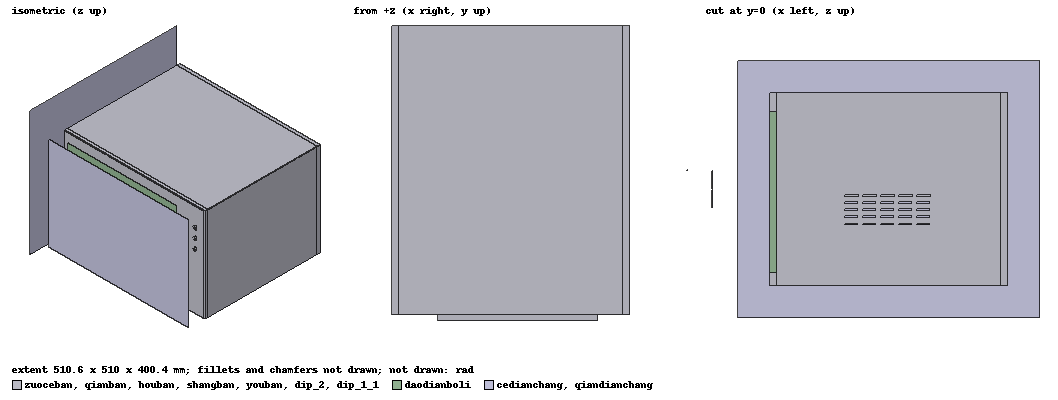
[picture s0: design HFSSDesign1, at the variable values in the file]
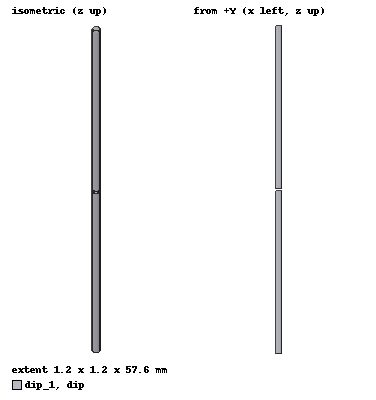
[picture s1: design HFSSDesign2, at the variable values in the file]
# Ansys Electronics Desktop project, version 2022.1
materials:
  vacuum: permittivity=1
  steel_stainless: conductivity=1100000
  daodianboli: conductivity=14.7
  pec: conductivity=1e+30
  air: permittivity=1.0006 permeability=1.0000004

design HFSSDesign1 (HFSS, DrivenModal, model units mm)
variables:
  length = 450mm
  width = 350mm
  height = 300mm
  kong_radius = 0
  dwidth = 10mm
  dlength = 350mm
  dheight = 250mm
  kwidth_ce = 0.091mm
  kradius_ce = 0.107mm
  kwidth_max = 4.55mm
  kradius_max = 5.33mm
  lambda = 120mm
  tlength = 0.48*lambda
  gap = 0.24mm
  dip_length = tlength/2-gap/2
  dip_radius = lambda/200
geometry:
  qianban [steel_stainless] = box(corner=(width/2, -length/2, -height/2), size=(dwidth, length, height))
  shangban [steel_stainless] = box(corner=(-width/2, -length/2, height/2), size=(width, length, 0.2mm))
  youban [steel_stainless] = box(corner=(-width/2, length/2, -height/2), size=(width, 0.2mm, height))
  houban [steel_stainless] = qianban.duplicate_mirror(point=(0mm, 0mm, 0mm), normal=(-1mm, 0mm, 0mm))
  xiaban [steel_stainless] = shangban.duplicate_mirror(point=(0mm, 0mm, 0mm), normal=(0mm, 0mm, -1mm))
  coordinate_system RelativeCS1 = origin=(175.2mm, -225mm, -150mm) x=(1mm, 0mm, 0mm) y=(0mm, 1mm, 0mm)
  Box1 = box(corner=(-1mm, 10mm, 20mm), size=(11000mm, dlength, dheight)) in RelativeCS1
  qianban.subtract(Box1)
  zuoban = youban.duplicate_mirror(point=(0mm, 0mm, 0mm), normal=(0mm, -1mm, 0mm))
  coordinate_system RelativeCS2 = origin=(-0.2mm, 10mm, 20mm) x=(1mm, 0mm, 0mm) y=(0mm, 1mm, 0mm) in RelativeCS1
  daodianboli [daodianboli] = box(corner=(0mm, 0mm, 0mm), size=(10mm, 350mm, 250mm)) in RelativeCS2
  Cylinder1 = cylinder(axis=X, base_centre=(-10mm, 80mm, 20mm), radius=kradius_max, height=40mm) in RelativeCS1
  Cylinder1.move(0mm, 300mm, 220mm) in RelativeCS1
  Cylinder1_1 = Cylinder1.duplicate_along_line(step=(1mm, 40mm, 0mm), total=2) in RelativeCS1
  Cylinder1_2, Cylinder1_3 = Cylinder1.duplicate_along_line(step=(1mm, 0mm, -30mm), total=3) in RelativeCS1
  Cylinder1_1_1, Cylinder1_1_2 = Cylinder1_1.duplicate_along_line(step=(0mm, 0mm, -30mm), total=3) in RelativeCS1
  coordinate_system RelativeCS3 = origin=(-175mm, -225.2mm, -150mm) x=(1mm, 0mm, 0mm) y=(0mm, 1mm, 0mm)
  zuoceban [steel_stainless] = box(corner=(91mm, 0mm, 40mm), size=(250mm, -9.8mm, 100mm)) in RelativeCS3
  zuoceban.move(-30mm, 0mm, 20mm) in RelativeCS3
  zuoceban.chamfer(Edges=zuoceban.edge(4 of 12, 10 of 12, 6 of 12, 9 of 12) LeftDistance=9.8mm RightDistance=9.8mm ChamferType=Symmetric)
  Box2 = box(corner=(40mm, -100mm, -20mm), size=(20mm, 100mm, 3mm)) in RelativeCS3
  Box2.move(70mm, 0mm, 159mm) in RelativeCS3
  Box2.move(1mm, 70mm, -1mm) in RelativeCS3
  Box2_1..Box2_4 = Box2.duplicate_along_line(step=(28mm, 0mm, 0mm), total=5) in RelativeCS3
  Box2_5..Box2_8 = Box2.duplicate_along_line(step=(0mm, 0mm, -11mm), total=5) in RelativeCS3
  Box2_1_1..Box2_1_4 = Box2_1.duplicate_along_line(step=(0mm, 0mm, -11mm), total=5) in RelativeCS3
  Box2_2_1..Box2_2_4 = Box2_2.duplicate_along_line(step=(0mm, 0mm, -11mm), total=5) in RelativeCS3
  Box2_3_1..Box2_3_4 = Box2_3.duplicate_along_line(step=(0mm, 0mm, -11mm), total=5) in RelativeCS3
  Box2_4_1..Box2_4_4 = Box2_4.duplicate_along_line(step=(0mm, 0mm, -11mm), total=5) in RelativeCS3
  zuoceban.unite(zuoban)
  zuoceban.subtract(Box2, Box2_1, Box2_1_1..Box2_1_4, Box2_2, Box2_2_1..Box2_2_4, Box2_3, Box2_3_1..Box2_3_4, Box2_4, Box2_4_1..Box2_4_4)
  zuoceban.subtract(Box2_5..Box2_8)
  coordinate_system RelativeCS4 = origin=(-128mm, 0mm, 138mm) x=(1mm, 0mm, 0mm) y=(0mm, 1mm, 0mm) in RelativeCS1
  coordinate_system RelativeCS5 = origin=(-2mm, 0mm, 4mm) x=(1mm, 0mm, 0mm) y=(0mm, 1mm, 0mm) in RelativeCS4
  Box3 = box(corner=(1.75mm, 0mm, 0mm), size=(22mm, 6mm, 1mm)) in RelativeCS5
  Box3.rotate(axis=X, angle=-45deg) in RelativeCS5
  Box3.move(0mm, -0.4mm, 0mm) in RelativeCS5
  Box3.move(0mm, -0.2mm, 0mm) in RelativeCS5
  Box3.move(0mm, -0.2mm, 0mm) in RelativeCS5
  Box3_1..Box3_4 = Box3.duplicate_along_line(step=(-28mm, 0mm, 0mm), total=5) in RelativeCS5
  qianban.subtract(Cylinder1, Cylinder1_1, Cylinder1_1_1, Cylinder1_1_2, Cylinder1_2, Cylinder1_3)
  zuoceban.unite(Box3, Box3_1..Box3_4)
  dip [pec] = cylinder(axis=Z, base_centre=(0mm, 0mm, gap/2), radius=dip_radius, height=dip_length)
  dip_1 [pec] = dip.duplicate_around_axis(axis=Y, angle=180deg, total=2)
  Rectangle1 = rectangle(corner=(0mm, -dip_radius, -gap/2), y_size=2*dip_radius, z_size=gap)
  rad [air] = box(corner=(-dwidth-50mm, -9.8mm-50mm, -0.2mm-50mm), size=(width+2*dwidth+100mm, length+0.4mm+9.8mm+100mm, height+0.4mm+100mm)) in RelativeCS3
  dip_2 [pec] = dip.duplicate_along_line(step=(width/2+100mm, 0mm, 0mm), total=2)
  dip_1_1 [pec] = dip_1.duplicate_along_line(step=(width/2+100mm, 0mm, 0mm), total=2)
  Rectangle1_1 = Rectangle1.duplicate_along_line(step=(width/2+100mm, 0mm, 0mm), total=2)
  coordinate_system RelativeCS6 = origin=(235mm, -285mm, -200.2mm) x=(1mm, 0mm, 0mm) y=(0mm, 1mm, 0mm)
  RegularPolyhedron1 = polyhedron(axis=Z, centre=(0mm, 280.1mm, 0mm), first_corner=(0mm, 0mm, 0mm), sides=12, height=400.4mm) in RelativeCS6
  rad.unite(RegularPolyhedron1)
  cedianchang = rectangle(corner=(0mm, 0.2mm, 0mm), z_size=400.4mm, x_size=-470mm) in RelativeCS6
  qiandianchang = rectangle(corner=(50mm+dwidth, 0mm, 0mm), y_size=450mm, z_size=300mm) in RelativeCS1
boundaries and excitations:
  Rad1: Radiation Objects=rad
  1: Lumped Port Objects=Rectangle1 Modes{Mode1{IntLine{(0, 0, -0.12) -> (0, 0, 0.12)} CharImp=Zpi}} Impedance=73.2ohm
  2: Lumped Port Objects=Rectangle1_1 Modes{Mode1{IntLine{(275, 0, -0.12) -> (275, 0, 0.12)} CharImp=Zpi}} Impedance=73.2ohm
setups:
  Setup1: HfssDriven Frequency=2.45GHz MaxDeltaS=0.02 MaximumPasses=20 MinimumPasses=1 MinimumConvergedPasses=1 PercentRefinement=30 BasisOrder=1 PortAccuracy=2 DrivenSolverType="Direct Solver"
    sweep Sweep: 2GHz to 3GHz step 0.05GHz; Type=Fast SaveFields
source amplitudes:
  1:1: 500W 0deg
  2:1: 0W 0deg
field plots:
  Mag_E1: E Field over qiandianchang.face on Setup1 : LastAdaptive at Freq=2.45GHz Phase=0deg
  Mag_E2: E Field over cedianchang.face on Setup1 : LastAdaptive at Freq=2.45GHz Phase=0deg
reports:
  S Parameter Plot 1:
  S Parameter Plot 2: dB(S(1,2)) vs Freq on Setup1 : Sweep
  S Parameter Plot 3: dB(S(2,1)) vs Freq on Setup1 : Sweep

design HFSSDesign2 (HFSS, DrivenModal, model units mm)
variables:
  tlength = 0.48*lambda
  dip_length = tlength/2-gap/2
  lambda = 120mm
  gap = 0.24mm
  dip_radius = lambda/200
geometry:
  dip [pec] = cylinder(axis=Z, base_centre=(0mm, 0mm, gap/2), radius=dip_radius, height=dip_length)
  dip_1 [pec] = dip.duplicate_around_axis(axis=Y, angle=180deg, total=2)
  Rectangle1 = rectangle(corner=(0mm, -dip_radius, -gap/2), y_size=2*dip_radius, z_size=gap)
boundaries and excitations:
  1: Lumped Port Objects=Rectangle1 Modes{Mode1{IntLine{(0, 0, -0.12) -> (0, 0, 0.12)} CharImp=Zpi}} Impedance=73.2ohm
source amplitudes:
  1:1: 1W 0deg
